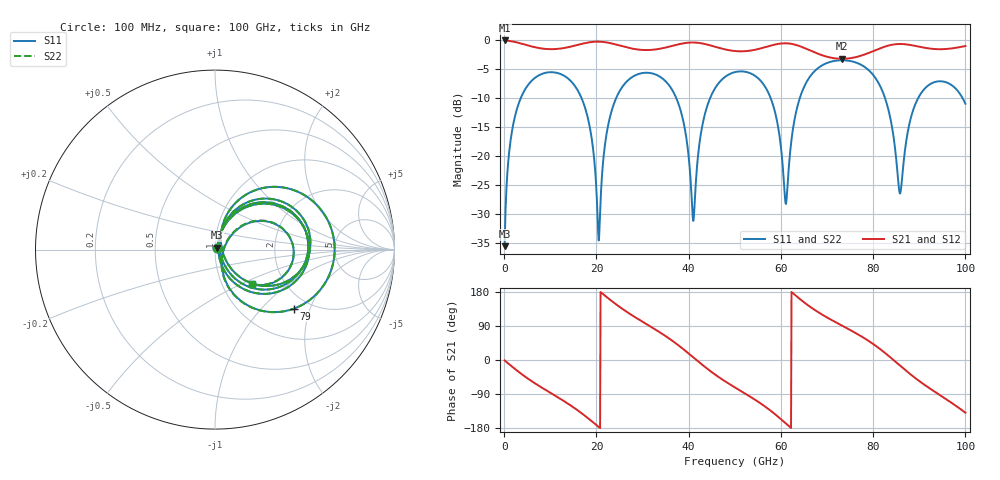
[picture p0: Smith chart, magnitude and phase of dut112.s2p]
! Touchstone file exported from HFSS 2026.1.0
!  File:  C:/ffzhzh/LocalFiles/Ansys_Project_Files/temp_train_TSV_RDL_112_1783457391_50928.aedt
!  Generated:  05:03:28 AM Jul  8, 2026
!  Design:  TSV_RDL
!  Project:  temp_train_TSV_RDL_112_1783457391_50928
! Variables:
!  h_bsmrdl = 4.52um
!  h_ox = 20um
!  h_rdl = 5um
!  h_sub = 50.99um
!  h_tmrdl = 2.94um
!  h_tsv = 50.99um
!  h_via = 3um
!  l_bsmrdl = 130.54um
!  l_sub = 3142.27um
!  l_tmrdl = 550.35um
!  m_sub = 200um
!  pitch = 54.25um
!  r_tsv = 8.22um
!  s_tmrdl = 10um
!  w_bsmrdl = 22.37um
!  w_sub = 500um
!  w_tmrdl = 27.38um
!  x_tsv_center1 = 564.04um
!  x_tsv_center2 = 716.95um
!  x_tsv_center3 = 1294.68um
!  x_tsv_center4 = 1447.59um
!  x_tsv_center5 = 2025.32um
!  x_tsv_center6 = 2178.23um
# GHz S MA R 50.000000
! Terminal data exported
! Port[1] = TM_RDL1_1_T1
! Port[2] = TM_RDL5_1_T1
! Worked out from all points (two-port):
!   1000 points, 100 MHz to 100 GHz, reference 50 ohm
!   highest |S21| = -0.11 dB at 100 MHz (marker M1); lowest = -3.3 dB at 73.3 GHz (marker M2)
!   |S21| within 3 dB of the highest: start of sweep to 71.05 GHz; 75.5 GHz to end of sweep
!   lowest |S11| = -35.6 dB at 100 MHz (marker M3), VSWR 1.03, Z = 51.3 + j1.08 ohm
!   |S11| at or under -10 dB: 16.75 GHz to 24.31 GHz (7.563 GHz wide, 36.8 % of centre); 37.29 GHz to 44.68 GHz (7.396 GHz wide, 18 % of centre); 82.56 GHz to 89.79 GHz (7.236 GHz wide, 8.4 % of centre) (the widest 3 of 6)
!   |S22| runs from -35.6 to -3.5 dB; largest |S21 - S12| = 4e-13
!   S11 on the Smith chart (normalised r, x): 100 MHz: 1.03, +0.02; 79 GHz: 1.65, -1.56; 100 GHz: 1.37, -0.58
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0.1  0.01663 39.3  0.9873 -1.1  0.9873 -1.1  0.01663 39.3
! Gamma 0 0 0 0
! Port Impedance 50 0 50 0
1.6  0.1541 67.3  0.9712 -16.4  0.9712 -16.4  0.1541 67.3
4.6  0.377 42.8  0.9071 -44.4  0.9071 -44.4  0.377 42.8
10.6  0.5251 -2.1  0.8308 -90.8  0.8308 -90.8  0.5251 -2.1
16.8  0.3128 -49.3  0.9221 -140.6  0.9221 -140.6  0.3128 -49.2
20.5  0.01861 -1.0  0.9641 -176.6  0.9641 -176.6  0.01873 -0.9
24.3  0.3154 52.6  0.9095 146.6  0.9095 146.6  0.3155 52.6
33.4  0.4904 -14.1  0.8325 75.8  0.8325 75.8  0.4904 -14.1
38.4  0.2347 -52.1  0.9252 33.0  0.9252 33.0  0.2348 -52.1
41  0.02745 4.3  0.9481 7.0  0.9481 7.0  0.02721 4.1
44  0.2664 61.2  0.9106 -22.7  0.9106 -22.7  0.2663 61.3
50.1  0.5273 15.9  0.7999 -72.9  0.7999 -72.9  0.5272 15.9
57.5  0.3346 -37.1  0.8846 -131.2  0.8846 -131.2  0.3345 -37.1
61.1  0.03846 15.5  0.9331 -167.7  0.9331 -167.7  0.03849 15.6
63.3  0.2392 69.4  0.9029 169.1  0.9029 169.1  0.2393 69.4
66.7  0.5048 43.6  0.798 137.3  0.798 137.3  0.5048 43.6
73.3  0.6666 0.1  0.6858 90.4  0.6858 90.4  0.6665 0.1
79  0.5489 -36.8  0.7696 50.5  0.7696 50.5  0.5487 -36.9
83.4  0.2414 -68.9  0.8941 10.4  0.8941 10.4  0.2408 -69.4
85.8  0.04726 -16.6  0.9207 -14.6  0.9207 -14.6  0.04441 -16.6
90.7  0.3603 23.6  0.8608 -61.7  0.8608 -61.7  0.3601 24.2
100  0.2811 -43.6  0.8835 -139.0  0.8835 -139.0  0.2811 -43.0
